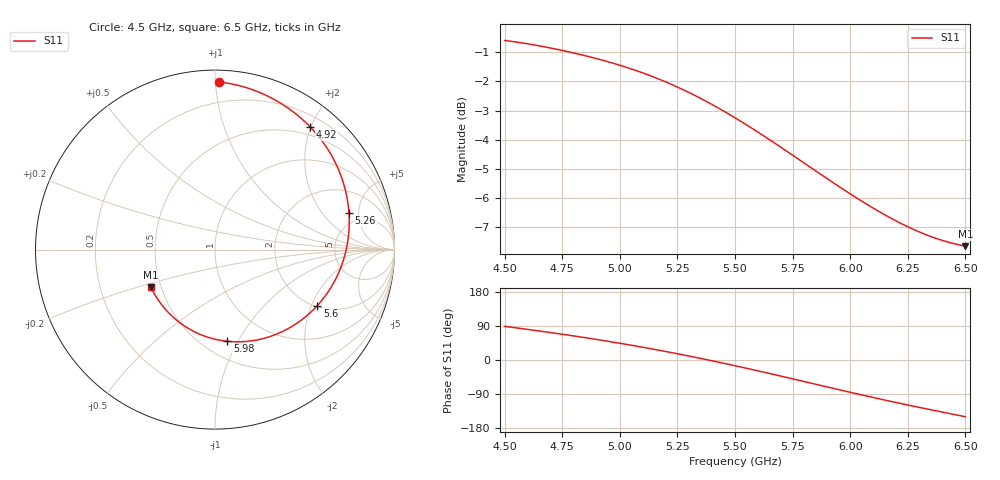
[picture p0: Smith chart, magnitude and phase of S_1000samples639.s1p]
! TOUCHSTONE file generated by CST MICROWAVE STUDIO
! Date and time: Fri Oct 28 21:03:33 2022
! Project name: L.cst
! Parameters = {Di=1.27; Epsilon_r=1.56; InnerDiameter=1.27; Length=2; Lf=10; Lg=60; OuterConductorThickness=0.2921; OuterDiameter=3.6; Wf=3; Wp=41.2; de=1.5; df=6.8; g=0.8; gx=2.88715; gy=3.37519; h=2.34; hf=1.524; px=12.0492; py=12.1977; w=9.7; wx=9.16205; wy=8.82255}
! Header version: 2018
! Port assignment regex: !\s*Touchstone port\s*([0-9]+)\s*=\s*(CST MWS port|CST DS port)\s*([0-9]+|Zmin|Zmax)\s*\(\"(.*)\"\)(\s*mode\s*([0-9]+))?.*
! Touchstone port assignment:
! Touchstone port 1 = CST MWS port 1 ("")
# GHz S DB R 50
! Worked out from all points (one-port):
!   101 points, 4.5 GHz to 6.5 GHz, reference 50 ohm
!   lowest |S11| = -7.7 dB at 6.5 GHz (marker M1), VSWR 2.41, Z = 22 - j11.1 ohm
!   |S11| at or under -10 dB: nowhere
!   S11 on the Smith chart (normalised r, x): 4.5 GHz: 0.07, +1.02; 4.92 GHz: 0.37, +1.99; 5.26 GHz: 3.79, +3.85; 5.6 GHz: 2.05, -2.21; 5.98 GHz: 0.65, -0.91; 6.5 GHz: 0.44, -0.22
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4.5  -0.59 88.7
4.58  -0.68 82.4
4.64  -0.76 77.4
4.76  -0.95 67.1
4.84  -1.10 59.8
4.92  -1.26 52.2
5  -1.44 44.2
5.08  -1.65 35.7
5.14  -1.83 29.2
5.2  -2.02 22.3
5.26  -2.23 15.3
5.32  -2.46 8.0
5.38  -2.70 0.5
5.44  -2.97 -7.2
5.5  -3.25 -15.1
5.6  -3.74 -28.7
5.68  -4.16 -39.8
5.76  -4.59 -51.1
5.8  -4.80 -56.8
5.86  -5.12 -65.4
5.92  -5.44 -73.9
5.98  -5.76 -82.4
6  -5.86 -85.2
6.06  -6.16 -93.5
6.14  -6.53 -104.4
6.26  -7.03 -120.0
6.38  -7.41 -135.0
6.5  -7.66 -149.7
